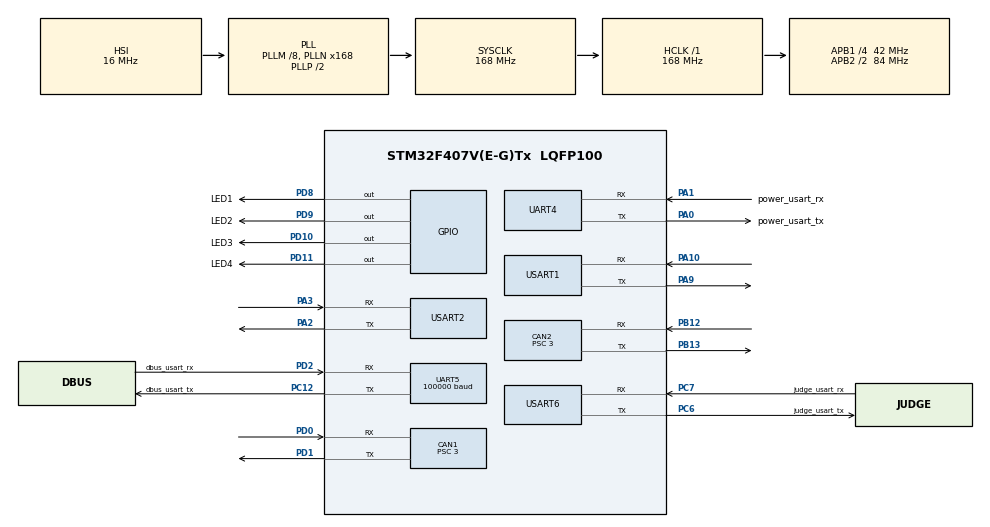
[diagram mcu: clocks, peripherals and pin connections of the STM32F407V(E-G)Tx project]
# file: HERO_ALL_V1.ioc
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CAN1.BS1=CAN_BS1_10TQ
CAN1.BS2=CAN_BS2_3TQ
CAN1.CalculateBaudRate=1000000
CAN1.CalculateTimeBit=999.99
CAN1.CalculateTimeQuantum=71.42857142857143
CAN1.Prescaler=3
CAN2.BS1=CAN_BS1_10TQ
CAN2.BS2=CAN_BS2_3TQ
CAN2.CalculateBaudRate=1000000
CAN2.CalculateTimeBit=999.99
CAN2.CalculateTimeQuantum=71.42857142857143
CAN2.Prescaler=3
Dma.Request0=UART5_RX
Dma.Request1=USART6_RX
Dma.Request2=USART6_TX
Dma.Request3=UART4_RX
Dma.Request4=USART2_RX
Dma.Request5=USART1_RX
Dma.Request6=USART1_TX
Dma.UART4_RX.3.Direction=DMA_PERIPH_TO_MEMORY
Dma.UART4_RX.3.FIFOMode=DMA_FIFOMODE_DISABLE
Dma.UART4_RX.3.Instance=DMA1_Stream2
Dma.UART4_RX.3.MemDataAlignment=DMA_MDATAALIGN_BYTE
Dma.UART4_RX.3.MemInc=DMA_MINC_ENABLE
Dma.UART4_RX.3.Mode=DMA_NORMAL
Dma.UART4_RX.3.PeriphDataAlignment=DMA_PDATAALIGN_BYTE
Dma.UART4_RX.3.PeriphInc=DMA_PINC_DISABLE
Dma.UART4_RX.3.Priority=DMA_PRIORITY_LOW
Dma.UART5_RX.0.Direction=DMA_PERIPH_TO_MEMORY
Dma.UART5_RX.0.FIFOMode=DMA_FIFOMODE_DISABLE
Dma.UART5_RX.0.Instance=DMA1_Stream0
Dma.UART5_RX.0.MemDataAlignment=DMA_MDATAALIGN_BYTE
Dma.UART5_RX.0.MemInc=DMA_MINC_ENABLE
Dma.UART5_RX.0.Mode=DMA_NORMAL
Dma.UART5_RX.0.PeriphDataAlignment=DMA_PDATAALIGN_BYTE
Dma.UART5_RX.0.PeriphInc=DMA_PINC_DISABLE
Dma.UART5_RX.0.Priority=DMA_PRIORITY_HIGH
Dma.USART1_RX.5.Direction=DMA_PERIPH_TO_MEMORY
Dma.USART1_RX.5.FIFOMode=DMA_FIFOMODE_DISABLE
Dma.USART1_RX.5.Instance=DMA2_Stream2
Dma.USART1_RX.5.MemDataAlignment=DMA_MDATAALIGN_BYTE
Dma.USART1_RX.5.MemInc=DMA_MINC_ENABLE
Dma.USART1_RX.5.Mode=DMA_NORMAL
Dma.USART1_RX.5.PeriphDataAlignment=DMA_PDATAALIGN_BYTE
Dma.USART1_RX.5.PeriphInc=DMA_PINC_DISABLE
Dma.USART1_RX.5.Priority=DMA_PRIORITY_LOW
Dma.USART1_TX.6.Direction=DMA_MEMORY_TO_PERIPH
Dma.USART1_TX.6.FIFOMode=DMA_FIFOMODE_DISABLE
Dma.USART1_TX.6.Instance=DMA2_Stream7
Dma.USART1_TX.6.MemDataAlignment=DMA_MDATAALIGN_BYTE
Dma.USART1_TX.6.MemInc=DMA_MINC_ENABLE
Dma.USART1_TX.6.Mode=DMA_NORMAL
Dma.USART1_TX.6.PeriphDataAlignment=DMA_PDATAALIGN_BYTE
Dma.USART1_TX.6.PeriphInc=DMA_PINC_DISABLE
Dma.USART1_TX.6.Priority=DMA_PRIORITY_LOW
Dma.USART2_RX.4.Direction=DMA_PERIPH_TO_MEMORY
Dma.USART2_RX.4.FIFOMode=DMA_FIFOMODE_DISABLE
Dma.USART2_RX.4.Instance=DMA1_Stream5
Dma.USART2_RX.4.MemDataAlignment=DMA_MDATAALIGN_BYTE
Dma.USART2_RX.4.MemInc=DMA_MINC_ENABLE
Dma.USART2_RX.4.Mode=DMA_NORMAL
Dma.USART2_RX.4.PeriphDataAlignment=DMA_PDATAALIGN_BYTE
Dma.USART2_RX.4.PeriphInc=DMA_PINC_DISABLE
Dma.USART2_RX.4.Priority=DMA_PRIORITY_LOW
Dma.USART6_RX.1.Direction=DMA_PERIPH_TO_MEMORY
Dma.USART6_RX.1.FIFOMode=DMA_FIFOMODE_DISABLE
Dma.USART6_RX.1.Instance=DMA2_Stream1
Dma.USART6_RX.1.MemDataAlignment=DMA_MDATAALIGN_BYTE
Dma.USART6_RX.1.MemInc=DMA_MINC_ENABLE
Dma.USART6_RX.1.Mode=DMA_NORMAL
Dma.USART6_RX.1.PeriphDataAlignment=DMA_PDATAALIGN_BYTE
Dma.USART6_RX.1.PeriphInc=DMA_PINC_DISABLE
Dma.USART6_RX.1.Priority=DMA_PRIORITY_LOW
Dma.USART6_TX.2.Direction=DMA_MEMORY_TO_PERIPH
Dma.USART6_TX.2.FIFOMode=DMA_FIFOMODE_DISABLE
Dma.USART6_TX.2.Instance=DMA2_Stream6
Dma.USART6_TX.2.MemDataAlignment=DMA_MDATAALIGN_BYTE
Dma.USART6_TX.2.MemInc=DMA_MINC_ENABLE
Dma.USART6_TX.2.Mode=DMA_NORMAL
Dma.USART6_TX.2.PeriphDataAlignment=DMA_PDATAALIGN_BYTE
Dma.USART6_TX.2.PeriphInc=DMA_PINC_DISABLE
Dma.USART6_TX.2.Priority=DMA_PRIORITY_LOW
FREERTOS.INCLUDE_eTaskGetState=1
FREERTOS.INCLUDE_pcTaskGetTaskName=1
FREERTOS.INCLUDE_uxTaskGetStackHighWaterMark=1
FREERTOS.INCLUDE_uxTaskGetStackHighWaterMark2=1
FREERTOS.INCLUDE_vTaskCleanUpResources=1
FREERTOS.INCLUDE_vTaskDelayUntil=1
FREERTOS.INCLUDE_xEventGroupSetBitFromISR=1
FREERTOS.INCLUDE_xQueueGetMutexHolder=1
FREERTOS.INCLUDE_xSemaphoreGetMutexHolder=1
FREERTOS.INCLUDE_xTaskAbortDelay=1
FREERTOS.INCLUDE_xTaskGetCurrentTaskHandle=1
FREERTOS.INCLUDE_xTaskGetHandle=1
FREERTOS.INCLUDE_xTimerPendFunctionCall=1
FREERTOS.Tasks01=dbug,-2,128,dbug_task,As weak,NULL,Dynamic,NULL,NULL;gimbal,2,512,gimbal_task,As external,NULL,Dynamic,NULL,NULL;chassis,1,512,chassis_task,As external,NULL,Dynamic,NULL,NULL;detect,-1,256,detect_task,As external,NULL,Dynamic,NULL,NULL;cali,-1,512,cali_task,As external,NULL,Dynamic,NULL,NULL;judge,-1,256,judge_task,As external,NULL,Dynamic,NULL,NULL;pid,2,256,pid_task,As external,NULL,Dynamic,NULL,NULL;shoot,0,128,shoot_task,As external,NULL,Dynamic,NULL,NULL;imu,0,128,imu_task,As external,NULL,Dynamic,NULL,NULL;idel,-3,128,idel_task,Default,NULL,Dynamic,NULL,NULL;can,1,256,can_task,As external,NULL,Dynamic,NULL,NULL
FREERTOS.configENABLE_FPU=1
FREERTOS.configGENERATE_RUN_TIME_STATS=1
FREERTOS.configUSE_STATS_FORMATTING_FUNCTIONS=1
FREERTOS.configUSE_TIMERS=1
FREERTOS.configUSE_TRACE_FACILITY=1
Mcu.Family=STM32F4
Mcu.Name=STM32F407V(E-G)Tx
Mcu.Package=LQFP100
NVIC.CAN1_RX0_IRQn=true\:5\:0\:false\:false\:true\:true\:true\:true
NVIC.CAN2_RX1_IRQn=true\:5\:0\:false\:false\:true\:true\:true\:true
NVIC.DMA1_Stream0_IRQn=true\:5\:0\:false\:false\:true\:true\:false\:true
NVIC.DMA1_Stream2_IRQn=true\:5\:0\:false\:false\:true\:true\:false\:true
NVIC.DMA1_Stream5_IRQn=true\:5\:0\:false\:false\:true\:true\:false\:true
NVIC.DMA2_Stream1_IRQn=true\:5\:0\:false\:false\:true\:true\:false\:true
NVIC.DMA2_Stream2_IRQn=true\:5\:0\:false\:false\:true\:true\:false\:true
NVIC.DMA2_Stream6_IRQn=true\:5\:0\:false\:false\:true\:true\:false\:true
NVIC.DMA2_Stream7_IRQn=true\:5\:0\:false\:false\:true\:true\:false\:true
NVIC.PriorityGroup=NVIC_PRIORITYGROUP_4
NVIC.TIM1_UP_TIM10_IRQn=true\:0\:0\:false\:false\:true\:false\:false\:true
NVIC.TIM4_IRQn=true\:5\:0\:false\:false\:true\:true\:true\:true
NVIC.TimeBase=TIM1_UP_TIM10_IRQn
NVIC.TimeBaseIP=TIM1
NVIC.UART4_IRQn=true\:5\:0\:false\:false\:true\:true\:true\:true
NVIC.UART5_IRQn=true\:5\:0\:false\:false\:true\:true\:true\:true
NVIC.USART1_IRQn=true\:5\:0\:false\:false\:true\:true\:true\:true
NVIC.USART2_IRQn=true\:5\:0\:false\:false\:true\:true\:true\:true
PA0-WKUP.GPIO_Label=power_usart_tx
PA0-WKUP.Mode=Asynchronous
PA0-WKUP.Signal=UART4_TX
PA1.GPIO_Label=power_usart_rx
PA1.Mode=Asynchronous
PA1.Signal=UART4_RX
PA10.Mode=Asynchronous
PA10.Signal=USART1_RX
PA13.Mode=Serial_Wire
PA13.Signal=SYS_JTMS-SWDIO
PA14.Mode=Serial_Wire
PA14.Signal=SYS_JTCK-SWCLK
PA2.Mode=Asynchronous
PA2.Signal=USART2_TX
PA3.Mode=Asynchronous
PA3.Signal=USART2_RX
PA9.Mode=Asynchronous
PA9.Signal=USART1_TX
PB12.Mode=CAN_Activate
PB12.Signal=CAN2_RX
PB13.Mode=CAN_Activate
PB13.Signal=CAN2_TX
PC12.GPIO_Label=dbus_usart_tx
PC12.Mode=Asynchronous
PC12.Signal=UART5_TX
PC6.GPIO_Label=judge_usart_tx
PC6.Mode=Asynchronous
PC6.Signal=USART6_TX
PC7.GPIO_Label=judge_usart_rx
PC7.Mode=Asynchronous
PC7.Signal=USART6_RX
PD0.Mode=CAN_Activate
PD0.Signal=CAN1_RX
PD1.Mode=CAN_Activate
PD1.Signal=CAN1_TX
PD10.GPIO_Label=LED3
PD10.Signal=GPIO_Output
PD11.GPIO_Label=LED4
PD11.Signal=GPIO_Output
PD2.GPIO_Label=dbus_usart_rx
PD2.Mode=Asynchronous
PD2.Signal=UART5_RX
PD8.GPIO_Label=LED1
PD8.Signal=GPIO_Output
PD9.GPIO_Label=LED2
PD9.Signal=GPIO_Output
PH0-OSC_IN.Mode=HSE-External-Oscillator
PH0-OSC_IN.Signal=RCC_OSC_IN
PH1-OSC_OUT.Mode=HSE-External-Oscillator
PH1-OSC_OUT.Signal=RCC_OSC_OUT
ProjectManager.HeapSize=0x200
ProjectManager.StackSize=0x400
ProjectManager.TargetToolchain=MDK-ARM V5.27
RCC.48MHZClocksFreq_Value=84000000
RCC.AHBFreq_Value=168000000
RCC.APB1CLKDivider=RCC_HCLK_DIV4
RCC.APB1Freq_Value=42000000
RCC.APB1TimFreq_Value=84000000
RCC.APB2CLKDivider=RCC_HCLK_DIV2
RCC.APB2Freq_Value=84000000
RCC.APB2TimFreq_Value=168000000
RCC.CortexFreq_Value=168000000
RCC.HCLKFreq_Value=168000000
RCC.HSE_VALUE=8000000
RCC.HSI_VALUE=16000000
RCC.LSE_VALUE=32768
RCC.PLLM=8
RCC.PLLN=168
RCC.SYSCLKFreq_VALUE=168000000
RCC.SYSCLKSource=RCC_SYSCLKSOURCE_PLLCLK
RCC.VCOOutputFreq_Value=336000000
TIM4.AutoReloadPreload=TIM_AUTORELOAD_PRELOAD_ENABLE
TIM4.Period=10000-1
TIM4.Prescaler=167
UART4.VirtualMode=Asynchronous
UART5.BaudRate=100000
UART5.Parity=PARITY_EVEN
UART5.VirtualMode=Asynchronous
UART5.WordLength=WORDLENGTH_9B
USART1.VirtualMode=VM_ASYNC
USART2.VirtualMode=VM_ASYNC
USART6.VirtualMode=VM_ASYNC
VP_FREERTOS_VS_CMSIS_V1.Mode=CMSIS_V1
VP_SYS_VS_tim1.Mode=TIM1
VP_TIM4_VS_ClockSourceINT.Mode=Internal
board=custom

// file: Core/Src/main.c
/* USER CODE BEGIN Header */
/**
  ******************************************************************************
  * @file           : main.c
  * @brief          : Main program body
  ******************************************************************************
  * @attention
  *
  * <h2><center>&copy; Copyright (c) 2021 STMicroelectronics.
  * All rights reserved.</center></h2>
  *
  * This software component is licensed by ST under Ultimate Liberty license
  * SLA0044, the "License"; You may not use this file except in compliance with
  * the License. You may obtain a copy of the License at:
  *                             www.st.com/SLA0044
  *
  ******************************************************************************
  */
/* USER CODE END Header */
#include "main.h"
#include "cmsis_os.h"
#include "can.h"
#include "dma.h"
#include "tim.h"
#include "usart.h"
#include "gpio.h"

/* USER CODE BEGIN Includes */
#include "remote_control.h"
#include "bsp_can.h"
#include "ins_task.h"
#include "calibrate_task.h"
#include "gimbal_task.h"
#include "gimbal_behaviour.h"
#include "chassis_task.h"
#include "chassis_behaviour.h"
/* USER CODE END Includes */

void SystemClock_Config(void);
void MX_FREERTOS_Init(void);

/* USER CODE BEGIN 0 */
const RC_ctrl_t *local_rc_ctrl;
const motor_measure_t * yaw;
const motor_measure_t * pitch;
const motor_measure_t * shoot1;
const motor_measure_t * shoot2;
const motor_measure_t * trigle;
uint8_t pcWriteBuffer[200];
volatile uint32_t ulHighFrequencyTimerTicks;
/* USER CODE END 0 */

int main(void)
{

  /* MCU Configuration--------------------------------------------------------*/

  /* Reset of all peripherals, Initializes the Flash interface and the Systick. */
  HAL_Init();

  /* Configure the system clock */
  SystemClock_Config();

  /* Initialize all configured peripherals */
  MX_GPIO_Init();
  MX_DMA_Init();
  MX_CAN1_Init();
  MX_CAN2_Init();
  MX_UART4_Init();
  MX_UART5_Init();
  MX_USART1_UART_Init();
  MX_USART6_UART_Init();
  MX_USART2_UART_Init();
  MX_TIM4_Init();
  /* USER CODE BEGIN 2 */
	can_filter_init();
	remote_control_init();
	cali_param_init();
	//local_rc_ctrl = get_remote_control_point();
	yaw = get_yaw_gimbal_motor_measure_point();
	//pitch = get_pitch_gimbal_motor_measure_point();
	//shoot1 = get_shoot_motor_measure_point(0);
	//shoot2 = get_shoot_motor_measure_point(1);
	HAL_GPIO_WritePin(GPIOE,GPIO_PIN_0,GPIO_PIN_SET);
	//trigle = get_yaw_gimbal_motor_measure_point();
	//HAL_TIM_Base_Start_IT(&htim6);
	HAL_UART_Receive_IT(&huart4,RxData,1);
  /* USER CODE END 2 */

  /* Call init function for freertos objects (in freertos.c) */
  MX_FREERTOS_Init();
  /* Start scheduler */
  osKernelStart();

  /* We should never get here as control is now taken by the scheduler */
  /* Infinite loop */
  while (1)
  {

  }
}

void SystemClock_Config(void)
{
  RCC_OscInitTypeDef RCC_OscInitStruct = {0};
  RCC_ClkInitTypeDef RCC_ClkInitStruct = {0};

  /** Configure the main internal regulator output voltage
  */
  __HAL_RCC_PWR_CLK_ENABLE();
  __HAL_PWR_VOLTAGESCALING_CONFIG(PWR_REGULATOR_VOLTAGE_SCALE1);
  /** Initializes the RCC Oscillators according to the specified parameters
  * in the RCC_OscInitTypeDef structure.
  */
  RCC_OscInitStruct.OscillatorType = RCC_OSCILLATORTYPE_HSI;
  RCC_OscInitStruct.HSIState = RCC_HSI_ON;
  RCC_OscInitStruct.HSICalibrationValue = RCC_HSICALIBRATION_DEFAULT;
  RCC_OscInitStruct.PLL.PLLState = RCC_PLL_ON;
  RCC_OscInitStruct.PLL.PLLSource = RCC_PLLSOURCE_HSI;
  RCC_OscInitStruct.PLL.PLLM = 8;
  RCC_OscInitStruct.PLL.PLLN = 168;
  RCC_OscInitStruct.PLL.PLLP = RCC_PLLP_DIV2;
  RCC_OscInitStruct.PLL.PLLQ = 4;
  if (HAL_RCC_OscConfig(&RCC_OscInitStruct) != HAL_OK)
  {
    Error_Handler();
  }
  /** Initializes the CPU, AHB and APB buses clocks
  */
  RCC_ClkInitStruct.ClockType = RCC_CLOCKTYPE_HCLK|RCC_CLOCKTYPE_SYSCLK
                              |RCC_CLOCKTYPE_PCLK1|RCC_CLOCKTYPE_PCLK2;
  RCC_ClkInitStruct.SYSCLKSource = RCC_SYSCLKSOURCE_PLLCLK;
  RCC_ClkInitStruct.AHBCLKDivider = RCC_SYSCLK_DIV1;
  RCC_ClkInitStruct.APB1CLKDivider = RCC_HCLK_DIV4;
  RCC_ClkInitStruct.APB2CLKDivider = RCC_HCLK_DIV2;

  if (HAL_RCC_ClockConfig(&RCC_ClkInitStruct, FLASH_LATENCY_5) != HAL_OK)
  {
    Error_Handler();
  }
}

/* USER CODE BEGIN 4 */
void dbug_task(void const * argument)
{
	uint32_t xLastWakeTime;
	xLastWakeTime = osKernelSysTick();
	while(1)
	{

		U1printf("name            count              rate\r\n");
		vTaskGetRunTimeStats((char *)&pcWriteBuffer);
		U1printf("%s\r\n", pcWriteBuffer);

		osDelayUntil(&xLastWakeTime,500);
	}

}

void configureTimerForRunTimeStats(void)
{
	ulHighFrequencyTimerTicks = 0ul;
}
unsigned long getRunTimeCounterValue(void)
{
	return ulHighFrequencyTimerTicks;
}
/* USER CODE END 4 */

 /**
  * @brief  Period elapsed callback in non blocking mode
  * @note   This function is called  when TIM1 interrupt took place, inside
  * HAL_TIM_IRQHandler(). It makes a direct call to HAL_IncTick() to increment
  * a global variable "uwTick" used as application time base.
  * @param  htim : TIM handle
  * @retval None
  */
void HAL_TIM_PeriodElapsedCallback(TIM_HandleTypeDef *htim)
{
  if (htim->Instance == TIM1) {
    HAL_IncTick();
  }
}

void Error_Handler(void)
{
  __disable_irq();
  while (1)
  {
  }
}

/************************ (C) COPYRIGHT STMicroelectronics *****END OF FILE****/

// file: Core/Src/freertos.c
/* USER CODE BEGIN Header */
/**
  ******************************************************************************
  * File Name          : freertos.c
  * Description        : Code for freertos applications
  ******************************************************************************
  * @attention
  *
  * <h2><center>&copy; Copyright (c) 2021 STMicroelectronics.
  * All rights reserved.</center></h2>
  *
  * This software component is licensed by ST under Ultimate Liberty license
  * SLA0044, the "License"; You may not use this file except in compliance with
  * the License. You may obtain a copy of the License at:
  *                             www.st.com/SLA0044
  *
  ******************************************************************************
  */
/* USER CODE END Header */

#include "FreeRTOS.h"
#include "task.h"
#include "main.h"
#include "cmsis_os.h"

osThreadId dbugHandle;
osThreadId gimbalHandle;
osThreadId chassisHandle;
osThreadId detectHandle;
osThreadId caliHandle;
osThreadId judgeHandle;
osThreadId pidHandle;
osThreadId shootHandle;
osThreadId imuHandle;
osThreadId idelHandle;
osThreadId canHandle;

void dbug_task(void const * argument);
extern void gimbal_task(void const * argument);
extern void chassis_task(void const * argument);
extern void detect_task(void const * argument);
extern void cali_task(void const * argument);
extern void judge_task(void const * argument);
extern void pid_task(void const * argument);
extern void shoot_task(void const * argument);
extern void imu_task(void const * argument);
void idel_task(void const * argument);
extern void can_task(void const * argument);

void MX_FREERTOS_Init(void); /* (MISRA C 2004 rule 8.1) */

/* GetIdleTaskMemory prototype (linked to static allocation support) */
void vApplicationGetIdleTaskMemory( StaticTask_t **ppxIdleTaskTCBBuffer, StackType_t **ppxIdleTaskStackBuffer, uint32_t *pulIdleTaskStackSize );

/* GetTimerTaskMemory prototype (linked to static allocation support) */
void vApplicationGetTimerTaskMemory( StaticTask_t **ppxTimerTaskTCBBuffer, StackType_t **ppxTimerTaskStackBuffer, uint32_t *pulTimerTaskStackSize );

/* Hook prototypes */
void configureTimerForRunTimeStats(void);
unsigned long getRunTimeCounterValue(void);

/* USER CODE BEGIN 1 */
/* Functions needed when configGENERATE_RUN_TIME_STATS is on */
__weak void configureTimerForRunTimeStats(void)
{

}

__weak unsigned long getRunTimeCounterValue(void)
{
return 0;
}
/* USER CODE END 1 */

/* USER CODE BEGIN GET_IDLE_TASK_MEMORY */
static StaticTask_t xIdleTaskTCBBuffer;
static StackType_t xIdleStack[configMINIMAL_STACK_SIZE];

void vApplicationGetIdleTaskMemory( StaticTask_t **ppxIdleTaskTCBBuffer, StackType_t **ppxIdleTaskStackBuffer, uint32_t *pulIdleTaskStackSize )
{
  *ppxIdleTaskTCBBuffer = &xIdleTaskTCBBuffer;
  *ppxIdleTaskStackBuffer = &xIdleStack[0];
  *pulIdleTaskStackSize = configMINIMAL_STACK_SIZE;
  /* place for user code */
}
/* USER CODE END GET_IDLE_TASK_MEMORY */

/* USER CODE BEGIN GET_TIMER_TASK_MEMORY */
static StaticTask_t xTimerTaskTCBBuffer;
static StackType_t xTimerStack[configTIMER_TASK_STACK_DEPTH];

void vApplicationGetTimerTaskMemory( StaticTask_t **ppxTimerTaskTCBBuffer, StackType_t **ppxTimerTaskStackBuffer, uint32_t *pulTimerTaskStackSize )
{
  *ppxTimerTaskTCBBuffer = &xTimerTaskTCBBuffer;
  *ppxTimerTaskStackBuffer = &xTimerStack[0];
  *pulTimerTaskStackSize = configTIMER_TASK_STACK_DEPTH;
  /* place for user code */
}
/* USER CODE END GET_TIMER_TASK_MEMORY */

void MX_FREERTOS_Init(void) {

  /* Create the thread(s) */
  /* definition and creation of dbug */
  osThreadDef(dbug, dbug_task, osPriorityLow, 0, 128);
  dbugHandle = osThreadCreate(osThread(dbug), NULL);

  /* definition and creation of gimbal */
  osThreadDef(gimbal, gimbal_task, osPriorityHigh, 0, 512);
  gimbalHandle = osThreadCreate(osThread(gimbal), NULL);

  /* definition and creation of chassis */
  osThreadDef(chassis, chassis_task, osPriorityAboveNormal, 0, 512);
  chassisHandle = osThreadCreate(osThread(chassis), NULL);

  /* definition and creation of detect */
  osThreadDef(detect, detect_task, osPriorityBelowNormal, 0, 256);
  detectHandle = osThreadCreate(osThread(detect), NULL);

  /* definition and creation of cali */
  osThreadDef(cali, cali_task, osPriorityBelowNormal, 0, 512);
  caliHandle = osThreadCreate(osThread(cali), NULL);

  /* definition and creation of judge */
  osThreadDef(judge, judge_task, osPriorityBelowNormal, 0, 256);
  judgeHandle = osThreadCreate(osThread(judge), NULL);

  /* definition and creation of pid */
  osThreadDef(pid, pid_task, osPriorityHigh, 0, 256);
  pidHandle = osThreadCreate(osThread(pid), NULL);

  /* definition and creation of shoot */
  osThreadDef(shoot, shoot_task, osPriorityNormal, 0, 128);
  shootHandle = osThreadCreate(osThread(shoot), NULL);

  /* definition and creation of imu */
  osThreadDef(imu, imu_task, osPriorityNormal, 0, 128);
  imuHandle = osThreadCreate(osThread(imu), NULL);

  /* definition and creation of idel */
  osThreadDef(idel, idel_task, osPriorityIdle, 0, 128);
  idelHandle = osThreadCreate(osThread(idel), NULL);

  /* definition and creation of can */
  osThreadDef(can, can_task, osPriorityAboveNormal, 0, 256);
  canHandle = osThreadCreate(osThread(can), NULL);

}

__weak void dbug_task(void const * argument)
{
  for(;;)
  {
    osDelay(1);
  }
}

void idel_task(void const * argument)
{
  for(;;)
  {
    osDelay(1);
  }
}

/************************ (C) COPYRIGHT STMicroelectronics *****END OF FILE****/
